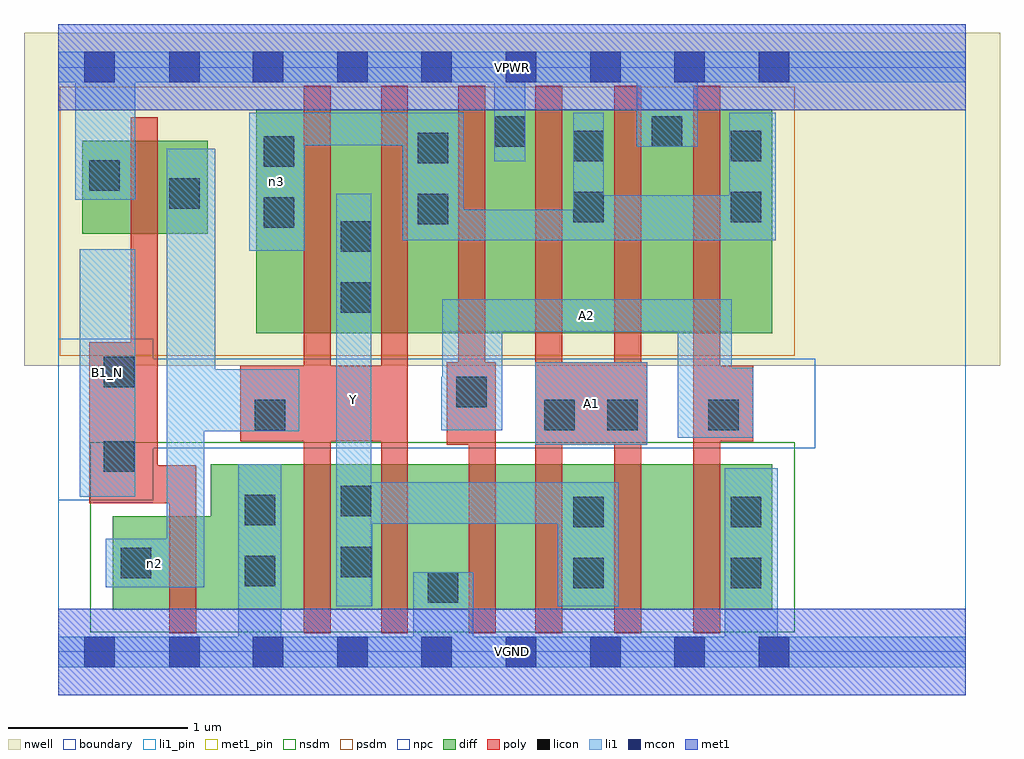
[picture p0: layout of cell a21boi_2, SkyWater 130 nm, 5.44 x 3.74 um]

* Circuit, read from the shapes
.subckt a21boi_2 A1 A2 B1_N VGND VPWR Y n2 n3
XM1 VGND B1_N n2 VSUBS sky130_fd_pr__nfet_01v8 w=0.52 l=0.15
XM2 Y n2 VGND VSUBS sky130_fd_pr__nfet_01v8 w=0.81 l=0.15 m=2
XM3 n1 A2 VGND VSUBS sky130_fd_pr__nfet_01v8 w=0.81 l=0.15
XM4 Y A1 n1 VSUBS sky130_fd_pr__nfet_01v8 w=0.81 l=0.15
XM5 n4 A1 Y VSUBS sky130_fd_pr__nfet_01v8 w=0.81 l=0.15
XM6 VGND A2 n4 VSUBS sky130_fd_pr__nfet_01v8 w=0.81 l=0.15
XM7 n2 B1_N VPWR n5 sky130_fd_pr__pfet_01v8 w=0.52 l=0.15
XM8 Y n2 n3 n5 sky130_fd_pr__pfet_01v8 w=1.25 l=0.15 m=2
XM9 VPWR A2 n3 n5 sky130_fd_pr__pfet_01v8 w=1.25 l=0.15 m=2
XM10 n3 A1 VPWR n5 sky130_fd_pr__pfet_01v8 w=1.25 l=0.15 m=2
.ends

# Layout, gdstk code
import gdstk
lib = gdstk.Library(unit=1e-6, precision=1e-09)
def R(c, l, rs):  # rectangles x0, y0, x1, y1
    for r in rs: c.add(gdstk.rectangle(r[:2], r[2:], *l))
def A(c, l, x, y, w, h, nx, ny, dx, dy):  # array of equal rectangles
    R(c, l, [(x+i*dx, y+j*dy, x+i*dx+w, y+j*dy+h) for i in range(nx) for j in range(ny)])
nwell = (64, 20)
diff = (65, 20)
poly = (66, 20)
licon = (66, 44)
li1_pin = (67, 16)
li1 = (67, 20)
mcon = (67, 44)
met1_pin = (68, 16)
met1 = (68, 20)
nsdm = (93, 44)
psdm = (94, 20)
npc = (95, 20)
boundary = (235, 4)

a21boi_2 = lib.new_cell('a21boi_2')
R(a21boi_2, nwell, [(-0.19,1.595,5.25,3.45), (0,1.595,5.06,3.45)])
R(a21boi_2, diff, [(0.305,0.235,3.98,0.755), (0.85,0.235,3.98,1.045), (1.105,1.775,3.98,3.025), (0.135,2.33,0.835,2.85)])
A(a21boi_2, poly, 2.66, 0.105, 0.15, 3.05, 3, 1, 0.44, 0)
R(a21boi_2, poly, [(0.62,0.105,0.77,1.04), (1.37,0.105,1.52,3.155), (1.8,0.105,1.95,3.155), (2.29,0.105,2.44,1.615), (0.175,0.83,0.555,1.725), (0.175,0.83,0.77,1.04), (0.405,0.83,0.555,2.98), (2.165,1.155,2.44,1.615), (2.23,1.155,2.38,3.155), (2.66,1.155,3.285,1.615), (1.015,1.175,1.95,1.595), (3.54,1.175,3.875,1.595)])
R(a21boi_2, licon, [(2.06,0.275,2.23,0.445), (2.87,0.355,3.04,0.525), (3.75,0.355,3.92,0.525), (1.04,0.365,1.21,0.535), (0.35,0.41,0.52,0.58), (1.575,0.415,1.745,0.585), (2.87,0.695,3.04,0.865), (3.75,0.695,3.92,0.865), (1.04,0.705,1.21,0.875), (1.575,0.755,1.745,0.925), (0.255,1.005,0.425,1.175), (1.095,1.235,1.265,1.405), (2.71,1.235,2.88,1.405), (3.06,1.235,3.23,1.405), (3.625,1.235,3.795,1.405), (2.22,1.365,2.39,1.535), (0.255,1.475,0.425,1.645), (1.575,1.89,1.745,2.06), (1.575,2.23,1.745,2.4), (1.145,2.365,1.315,2.535), (2.005,2.385,2.175,2.555), (2.87,2.395,3.04,2.565), (3.75,2.395,3.92,2.565), (0.62,2.47,0.79,2.64), (0.175,2.57,0.345,2.74), (1.145,2.705,1.315,2.875), (2.005,2.725,2.175,2.895), (2.87,2.735,3.04,2.905), (3.75,2.735,3.92,2.905), (2.435,2.815,2.605,2.985), (3.31,2.815,3.48,2.985)])
R(a21boi_2, li1_pin, [(1.55,0.255,1.745,2.555), (0.12,0.865,0.43,2.245), (2.66,1.155,3.285,1.615), (2.14,1.785,3.755,1.965)])
R(a21boi_2, li1, [(0,-0.085,5.06,0.085), (1.005,-0.085,1.245,1.045), (1.98,-0.085,2.315,0.445), (3.715,-0.085,4.01,1.025), (1.55,0.255,1.745,2.555), (1.55,0.255,1.75,0.945), (2.785,0.255,3.125,0.945), (0.265,0.36,0.815,0.63), (0.605,0.36,0.815,2.805), (1.55,0.715,3.125,0.945), (0.12,0.865,0.43,2.245), (2.66,1.155,3.285,1.615), (3.455,1.195,3.755,1.965), (3.455,1.195,3.875,1.585), (0.605,1.23,1.345,1.575), (0.605,1.23,0.875,2.805), (2.135,1.235,2.475,1.535), (2.14,1.235,2.475,1.965), (2.14,1.785,3.755,1.965), (1.065,2.235,1.375,3.005), (1.92,2.295,4,2.465), (1.92,2.295,2.26,3.005), (2.87,2.295,3.04,3.005), (2.87,2.295,4,2.545), (3.74,2.295,4,3.005), (0.095,2.52,0.43,3.345), (2.43,2.735,2.605,3.345), (3.225,2.815,3.565,3.345), (1.065,2.825,2.26,3.005), (0,3.175,5.06,3.345)])
A(a21boi_2, mcon, 1.085, -0.085, 0.17, 0.17, 7, 2, 0.47, 3.26)
R(a21boi_2, mcon, [(0.145,-0.085,0.315,0.085), (0.62,-0.085,0.79,0.085), (0.145,3.175,0.315,3.345), (0.62,3.175,0.79,3.345)])
R(a21boi_2, met1_pin, [(0,-0.24,5.06,0.24), (0,3.02,5.06,3.5)])
R(a21boi_2, met1, [(0,-0.24,5.06,0.24), (0,3.02,5.06,3.5)])
R(a21boi_2, nsdm, [(0.18,0.11,4.105,1.17)])
R(a21boi_2, psdm, [(0.01,1.65,4.105,3.15)])
R(a21boi_2, npc, [(0,0.845,0.53,1.745), (0,1.135,4.22,1.635)])
R(a21boi_2, boundary, [(0,0,5.06,3.26)])
a21boi_2.add(gdstk.Label('A1', (2.972,1.385), layer=67, texttype=5))
a21boi_2.add(gdstk.Label('A2', (2.947,1.875), layer=67, texttype=5))
a21boi_2.add(gdstk.Label('B1_N', (0.275,1.555), layer=67, texttype=5))
a21boi_2.add(gdstk.Label('Y', (1.647,1.405), layer=67, texttype=5))
a21boi_2.add(gdstk.Label('n2', (0.54,0.495), layer=67, texttype=5))
a21boi_2.add(gdstk.Label('n3', (1.22,2.62), layer=67, texttype=5))
a21boi_2.add(gdstk.Label('VPWR', (2.53,3.26), layer=68, texttype=5))
a21boi_2.add(gdstk.Label('VGND', (2.53,0), layer=68, texttype=5))
a21boi_2.add(gdstk.Label('A1', (2.972,1.385), layer=67, texttype=16))
a21boi_2.add(gdstk.Label('A2', (2.947,1.875), layer=67, texttype=16))
a21boi_2.add(gdstk.Label('B1_N', (0.275,1.555), layer=67, texttype=16))
a21boi_2.add(gdstk.Label('Y', (1.647,1.405), layer=67, texttype=16))
a21boi_2.add(gdstk.Label('VPWR', (2.53,3.26), layer=68, texttype=16))
a21boi_2.add(gdstk.Label('VGND', (2.53,0), layer=68, texttype=16))

lib.write_gds('a21boi_2.gds')
